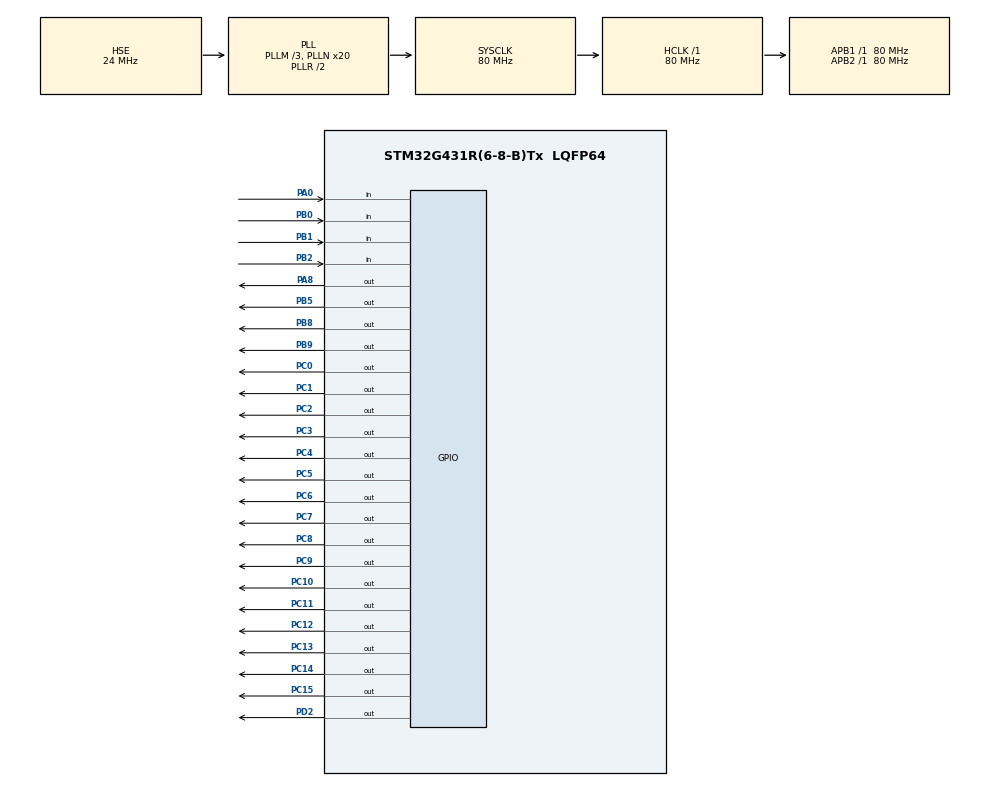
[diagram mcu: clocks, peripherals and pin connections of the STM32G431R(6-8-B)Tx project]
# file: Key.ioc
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Mcu.Family=STM32G4
Mcu.Name=STM32G431R(6-8-B)Tx
Mcu.Package=LQFP64
NVIC.PriorityGroup=NVIC_PRIORITYGROUP_4
NVIC.TIM3_IRQn=true\:0\:0\:false\:false\:true\:true\:true\:true
PA0.GPIO_PuPd=GPIO_PULLUP
PA0.Signal=GPIO_Input
PA13.Mode=Serial_Wire
PA13.Signal=SYS_JTMS-SWDIO
PA14.Mode=Serial_Wire
PA14.Signal=SYS_JTCK-SWCLK
PA8.Signal=GPIO_Output
PB0.GPIO_PuPd=GPIO_PULLUP
PB0.Signal=GPIO_Input
PB1.GPIO_PuPd=GPIO_PULLUP
PB1.Signal=GPIO_Input
PB2.GPIO_PuPd=GPIO_PULLUP
PB2.Signal=GPIO_Input
PB5.Signal=GPIO_Output
PB8-BOOT0.Signal=GPIO_Output
PB9.Signal=GPIO_Output
PC0.Signal=GPIO_Output
PC1.Signal=GPIO_Output
PC10.GPIO_ModeDefaultOutputPP=GPIO_MODE_OUTPUT_PP
PC10.GPIO_PuPd=GPIO_NOPULL
PC10.PinState=GPIO_PIN_SET
PC10.Signal=GPIO_Output
PC11.GPIO_ModeDefaultOutputPP=GPIO_MODE_OUTPUT_PP
PC11.GPIO_PuPd=GPIO_NOPULL
PC11.PinState=GPIO_PIN_SET
PC11.Signal=GPIO_Output
PC12.GPIO_ModeDefaultOutputPP=GPIO_MODE_OUTPUT_PP
PC12.GPIO_PuPd=GPIO_NOPULL
PC12.PinState=GPIO_PIN_SET
PC12.Signal=GPIO_Output
PC13.GPIO_ModeDefaultOutputPP=GPIO_MODE_OUTPUT_PP
PC13.GPIO_PuPd=GPIO_NOPULL
PC13.PinState=GPIO_PIN_SET
PC13.Signal=GPIO_Output
PC14-OSC32_IN.GPIO_ModeDefaultOutputPP=GPIO_MODE_OUTPUT_PP
PC14-OSC32_IN.GPIO_PuPd=GPIO_NOPULL
PC14-OSC32_IN.PinState=GPIO_PIN_SET
PC14-OSC32_IN.Signal=GPIO_Output
PC15-OSC32_OUT.GPIO_ModeDefaultOutputPP=GPIO_MODE_OUTPUT_PP
PC15-OSC32_OUT.GPIO_PuPd=GPIO_NOPULL
PC15-OSC32_OUT.PinState=GPIO_PIN_SET
PC15-OSC32_OUT.Signal=GPIO_Output
PC2.Signal=GPIO_Output
PC3.Signal=GPIO_Output
PC4.Signal=GPIO_Output
PC5.Signal=GPIO_Output
PC6.Signal=GPIO_Output
PC7.Signal=GPIO_Output
PC8.GPIO_ModeDefaultOutputPP=GPIO_MODE_OUTPUT_PP
PC8.GPIO_PuPd=GPIO_NOPULL
PC8.PinState=GPIO_PIN_SET
PC8.Signal=GPIO_Output
PC9.GPIO_ModeDefaultOutputPP=GPIO_MODE_OUTPUT_PP
PC9.GPIO_PuPd=GPIO_NOPULL
PC9.PinState=GPIO_PIN_SET
PC9.Signal=GPIO_Output
PD2.Signal=GPIO_Output
PF0-OSC_IN.Mode=HSE-External-Oscillator
PF0-OSC_IN.Signal=RCC_OSC_IN
PF1-OSC_OUT.Mode=HSE-External-Oscillator
PF1-OSC_OUT.Signal=RCC_OSC_OUT
ProjectManager.HeapSize=0x200
ProjectManager.StackSize=0x400
ProjectManager.TargetToolchain=MDK-ARM V5.32
RCC.ADC12Freq_Value=80000000
RCC.AHBFreq_Value=80000000
RCC.APB1Freq_Value=80000000
RCC.APB1TimFreq_Value=80000000
RCC.APB2Freq_Value=80000000
RCC.APB2TimFreq_Value=80000000
RCC.CortexFreq_Value=80000000
RCC.EXTERNAL_CLOCK_VALUE=12288000
RCC.HCLKFreq_Value=80000000
RCC.HSE_VALUE=24000000
RCC.HSI48_VALUE=48000000
RCC.HSI_VALUE=16000000
RCC.LSE_VALUE=32768
RCC.PLLM=RCC_PLLM_DIV3
RCC.PLLN=20
RCC.PLLSourceVirtual=RCC_PLLSOURCE_HSE
RCC.SYSCLKFreq_VALUE=80000000
RCC.SYSCLKSource=RCC_SYSCLKSOURCE_PLLCLK
RCC.USBFreq_Value=80000000
RCC.VCOOutputFreq_Value=160000000
TIM3.PeriodNoDither=10000-1
TIM3.Prescaler=100-1
VP_SYS_VS_DBSignals.Mode=DisableDeadBatterySignals
VP_TIM3_VS_ClockSourceINT.Mode=Internal
board=custom

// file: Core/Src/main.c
/* USER CODE BEGIN Header */
/**
  ******************************************************************************
  * @file           : main.c
  * @brief          : Main program body
  ******************************************************************************
  * @attention
  *
  * Copyright (c) 2023 STMicroelectronics.
  * All rights reserved.
  *
  * This software is licensed under terms that can be found in the LICENSE file
  * in the root directory of this software component.
  * If no LICENSE file comes with this software, it is provided AS-IS.
  *
  ******************************************************************************
  */
/* USER CODE END Header */
#include "main.h"
#include "tim.h"
#include "gpio.h"

/* USER CODE BEGIN Includes */
#include "led.h"
#include "lcd.h"
#include "stdio.h"
#include "interrupt.h"

/* USER CODE END Includes */

/* USER CODE BEGIN PTD */
extern struct keys key[];
/* USER CODE END PTD */

void SystemClock_Config(void);

int main(void)
{

  /* MCU Configuration--------------------------------------------------------*/

  /* Reset of all peripherals, Initializes the Flash interface and the Systick. */
  HAL_Init();

  /* Configure the system clock */
  SystemClock_Config();

  /* Initialize all configured peripherals */
  MX_GPIO_Init();
  MX_TIM3_Init();
  /* USER CODE BEGIN 2 */
	LED_Disp(0x00);
	LCD_Init();
	HAL_TIM_Base_Start_IT(&htim3);
  /* USER CODE END 2 */

  /* Infinite loop */
  /* USER CODE BEGIN WHILE */
	LCD_Clear(Black);
	LCD_SetBackColor(Black);
	LCD_SetTextColor(White);

  char text[30];
	while (1)
  {
    /* USER CODE END WHILE */

    /* USER CODE BEGIN 3 */

		sprintf(text,"       Data");
		LCD_DisplayStringLine(Line1, (uint8_t *)text);
		sprintf(text,"   CNBR:%d",2);
		LCD_DisplayStringLine(Line3, (uint8_t *)text);
		sprintf(text,"   VNBR:%d",4);
		LCD_DisplayStringLine(Line5, (uint8_t *)text);
		sprintf(text,"   IDLE:%d",2);
		LCD_DisplayStringLine(Line7, (uint8_t *)text);

		if(key[0].single_flag==1)
		{
			LCD_Clear(Black);
			REG_932X_Reverse();
			key[0].single_flag=0;
		}

  }
  /* USER CODE END 3 */
}

void SystemClock_Config(void)
{
  RCC_OscInitTypeDef RCC_OscInitStruct = {0};
  RCC_ClkInitTypeDef RCC_ClkInitStruct = {0};

  /** Configure the main internal regulator output voltage
  */
  HAL_PWREx_ControlVoltageScaling(PWR_REGULATOR_VOLTAGE_SCALE1);

  /** Initializes the RCC Oscillators according to the specified parameters
  * in the RCC_OscInitTypeDef structure.
  */
  RCC_OscInitStruct.OscillatorType = RCC_OSCILLATORTYPE_HSE;
  RCC_OscInitStruct.HSEState = RCC_HSE_ON;
  RCC_OscInitStruct.PLL.PLLState = RCC_PLL_ON;
  RCC_OscInitStruct.PLL.PLLSource = RCC_PLLSOURCE_HSE;
  RCC_OscInitStruct.PLL.PLLM = RCC_PLLM_DIV3;
  RCC_OscInitStruct.PLL.PLLN = 20;
  RCC_OscInitStruct.PLL.PLLP = RCC_PLLP_DIV2;
  RCC_OscInitStruct.PLL.PLLQ = RCC_PLLQ_DIV2;
  RCC_OscInitStruct.PLL.PLLR = RCC_PLLR_DIV2;
  if (HAL_RCC_OscConfig(&RCC_OscInitStruct) != HAL_OK)
  {
    Error_Handler();
  }

  /** Initializes the CPU, AHB and APB buses clocks
  */
  RCC_ClkInitStruct.ClockType = RCC_CLOCKTYPE_HCLK|RCC_CLOCKTYPE_SYSCLK
                              |RCC_CLOCKTYPE_PCLK1|RCC_CLOCKTYPE_PCLK2;
  RCC_ClkInitStruct.SYSCLKSource = RCC_SYSCLKSOURCE_PLLCLK;
  RCC_ClkInitStruct.AHBCLKDivider = RCC_SYSCLK_DIV1;
  RCC_ClkInitStruct.APB1CLKDivider = RCC_HCLK_DIV1;
  RCC_ClkInitStruct.APB2CLKDivider = RCC_HCLK_DIV1;

  if (HAL_RCC_ClockConfig(&RCC_ClkInitStruct, FLASH_LATENCY_2) != HAL_OK)
  {
    Error_Handler();
  }
}

void Error_Handler(void)
{
  __disable_irq();
  while (1)
  {
  }
}
